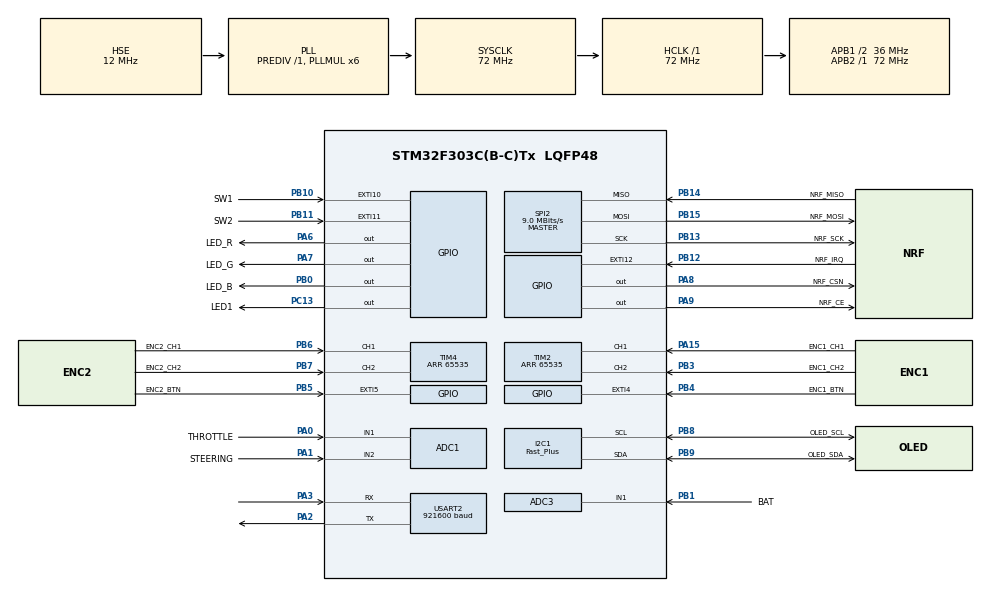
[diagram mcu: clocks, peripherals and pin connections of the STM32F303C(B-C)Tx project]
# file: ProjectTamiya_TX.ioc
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NVIC.ADC1_2_IRQn=true\:0\:0\:false\:false\:true\:true\:true
Dma.ADC3.0.Priority=DMA_PRIORITY_HIGH
I2C1.I2C_Speed_Mode=I2C_Fast_Plus
PB10.GPIO_PuPd=GPIO_PULLUP
SPI2.VirtualType=VM_MASTER
NVIC.TIM6_DAC_IRQn=true\:0\:0\:false\:false\:true\:true\:true
PB14.GPIO_Label=NRF_MISO
PA14.GPIO_Label=SWCLK
PA6.GPIO_Label=LED_R
PB6.GPIO_Label=ENC2_CH1
PB13.Signal=SPI2_SCK
Dma.USART2_TX.2.PeriphDataAlignment=DMA_PDATAALIGN_BYTE
RCC.APB2TimFreq_Value=72000000
PB6.Signal=S_TIM4_CH1
Dma.ADC3.0.Direction=DMA_PERIPH_TO_MEMORY
ADC1.Channel-2\#ChannelRegularConversion=ADC_CHANNEL_2
Dma.ADC1.1.PeriphDataAlignment=DMA_PDATAALIGN_HALFWORD
ADC3.SamplingTimeOPAMP-1\#ChannelRegularConversion=ADC_SAMPLETIME_61CYCLES_5
NVIC.EXTI15_10_IRQn=true\:0\:0\:false\:false\:true\:true\:true
Dma.USART2_TX.2.Priority=DMA_PRIORITY_LOW
Dma.ADC3.0.PeriphInc=DMA_PINC_DISABLE
PB12.GPIO_Label=NRF_IRQ
ADC3.Offset-1\#ChannelRegularConversion=0
PB14.Mode=Full_Duplex_Master
PB1.GPIO_Label=BAT
ADC3.ContinuousConvMode=ENABLE
Dma.USART2_TX.2.MemDataAlignment=DMA_MDATAALIGN_BYTE
NVIC.TIM2_IRQn=true\:0\:0\:false\:false\:true\:true\:true
PA0.Mode=IN1-Single-Ended
SPI2.CalculateBaudRate=9.0 MBits/s
SH.S_TIM4_CH2.0=TIM4_CH2,Encoder_Interface
PA8.Signal=GPIO_Output
TIM4.Period=65535
PA0.Signal=ADC1_IN1
Mcu.Package=LQFP48
PB9.Signal=I2C1_SDA
PB1.Signal=ADC3_IN1
SPI2.Mode=SPI_MODE_MASTER
ADC3.Rank-0\#ChannelRegularConversion=1
SH.S_TIM4_CH1.0=TIM4_CH1,Encoder_Interface
RCC.APB1TimFreq_Value=72000000
Dma.ADC3.0.Instance=DMA2_Channel5
PB13.Mode=Full_Duplex_Master
TIM16.Prescaler=7199
PF1-OSC_OUT.Signal=RCC_OSC_OUT
ADC3.EnableAnalogWatchDog1=false
PB7.GPIO_PuPd=GPIO_PULLUP
NVIC.EXTI4_IRQn=true\:0\:0\:false\:false\:true\:true\:true
ADC3.OffsetNumber-1\#ChannelRegularConversion=ADC_OFFSET_NONE
Dma.USART2_TX.2.MemInc=DMA_MINC_ENABLE
TIM2.IC1Filter=10
PC13.Signal=GPIO_Output
PA9.GPIO_Label=NRF_CE
PB6.GPIO_PuPd=GPIO_PULLUP
PB11.GPIO_Label=SW2
VP_TIM16_VS_ClockSourceINT.Mode=Enable_Timer
TIM4.IC2Filter=10
RCC.APB1CLKDivider=RCC_HCLK_DIV2
USART2.BaudRate=921600
PA3.Mode=Asynchronous
PB8.GPIO_Label=OLED_SCL
PA8.GPIO_Label=NRF_CSN
PA9.Signal=GPIO_Output
I2C1.Timing=0x00000001
PB4.GPIO_PuPd=GPIO_PULLUP
ADC1.Offset-2\#ChannelRegularConversion=0
ADC3.NbrOfConversion=2
PB10.Signal=GPXTI10
PB14.Signal=SPI2_MISO
PA1.Mode=IN2-Single-Ended
PB4.GPIO_Label=ENC1_BTN
RCC.PRESCALERUSB=RCC_USBCLKSOURCE_PLL_DIV1_5
PB15.GPIO_Label=NRF_MOSI
PA1.GPIO_Label=STEERING
ADC1.DMAContinuousRequests=ENABLE
TIM2.Period=65535
PA13.Mode=Serial_Wire
PB10.GPIO_ModeDefaultEXTI=GPIO_MODE_IT_RISING_FALLING
Dma.ADC3.0.PeriphDataAlignment=DMA_PDATAALIGN_HALFWORD
ADC3.Channel-1\#ChannelRegularConversion=ADC_CHANNEL_1
ADC3.Rank-1\#ChannelRegularConversion=2
ADC1.SamplingTime-1\#ChannelRegularConversion=ADC_SAMPLETIME_601CYCLES_5
PB5.Signal=GPXTI5
ADC1.master=1
Dma.USART2_TX.2.Instance=DMA1_Channel7
PB5.GPIO_PuPd=GPIO_PULLUP
ADC1.Rank-1\#ChannelRegularConversion=1
SH.S_TIM2_CH1_ETR.0=TIM2_CH1,Encoder_Interface
ProjectManager.HeapSize=0x200
PB1.Mode=IN1-Single-Ended
Dma.ADC3.0.Mode=DMA_NORMAL
ADC3.Offset-0\#ChannelRegularConversion=0
NVIC.PriorityGroup=NVIC_PRIORITYGROUP_2
PB8.Mode=I2C
SPI2.DataSize=SPI_DATASIZE_8BIT
NVIC.DMA1_Channel1_IRQn=true\:0\:0\:false\:false\:true\:false\:true
PF0-OSC_IN.Signal=RCC_OSC_IN
PB0.Signal=GPIO_Output
TIM2.IC2Filter=10
Mcu.Family=STM32F3
RCC.CortexFreq_Value=72000000
Dma.ADC1.1.MemDataAlignment=DMA_MDATAALIGN_HALFWORD
ADC1.ContinuousConvMode=ENABLE
TIM4.EncoderMode=TIM_ENCODERMODE_TI12
RCC.SYSCLKSourceVirtual=RCC_SYSCLKSOURCE_PLLCLK
PA0.GPIO_Label=THROTTLE
PB0.GPIO_Label=LED_B
TIM2.EncoderMode=TIM_ENCODERMODE_TI12
PB11.GPIO_PuPd=GPIO_PULLUP
PC13.GPIO_Label=LED1
PB13.GPIO_Label=NRF_SCK
PB11.Signal=GPXTI11
PB15.Signal=SPI2_MOSI
ADC3.Channel-0\#ChannelRegularConversion=ADC_CHANNEL_VREFINT
ProjectManager.StackSize=0x400
PA15.GPIO_Label=ENC1_CH1
Dma.ADC1.1.Instance=DMA1_Channel1
RCC.HCLKFreq_Value=72000000
VP_ADC3_Vref_Input.Mode=IN-Vrefint
ADC1.Offset-1\#ChannelRegularConversion=0
Dma.ADC3.0.MemDataAlignment=DMA_MDATAALIGN_HALFWORD
RCC.AHBFreq_Value=72000000
SPI2.BaudRatePrescaler=SPI_BAUDRATEPRESCALER_4
ADC3.SamplingTime-1\#ChannelRegularConversion=ADC_SAMPLETIME_601CYCLES_5
NVIC.DMA2_Channel5_IRQn=true\:0\:0\:false\:false\:true\:false\:true
RCC.HSE_VALUE=12000000
USART2.VirtualMode-Asynchronous=VM_ASYNC
RCC.PLLMUL=RCC_PLL_MUL6
PB3.GPIO_PuPd=GPIO_PULLUP
ADC1.Rank-2\#ChannelRegularConversion=2
PA14.Mode=Serial_Wire
Dma.ADC1.1.Priority=DMA_PRIORITY_MEDIUM
Dma.ADC3.0.MemInc=DMA_MINC_ENABLE
PB7.Signal=S_TIM4_CH2
Dma.ADC1.1.Mode=DMA_CIRCULAR
TIM6.Period=9999
PB7.GPIO_Label=ENC2_CH2
ADC3.master=1
PA6.Signal=GPIO_Output
Dma.ADC1.1.Direction=DMA_PERIPH_TO_MEMORY
RCC.EnbaleCSS=true
Dma.ADC1.1.MemInc=DMA_MINC_ENABLE
PA15.Signal=S_TIM2_CH1_ETR
ADC1.OffsetNumber-1\#ChannelRegularConversion=ADC_OFFSET_NONE
ADC3.OffsetNumber-0\#ChannelRegularConversion=ADC_OFFSET_NONE
TIM4.IC1Filter=10
PB5.GPIO_Label=ENC2_BTN
Dma.Request2=USART2_TX
Dma.Request1=ADC1
SPI2.Direction=SPI_DIRECTION_2LINES
PF1-OSC_OUT.Mode=HSE-External-Oscillator
Dma.Request0=ADC3
PC13.PinState=GPIO_PIN_SET
PB4.Signal=GPXTI4
PA3.Signal=USART2_RX
PB3.GPIO_Label=ENC1_CH2
RCC.PLLSourceVirtual=RCC_PLLSOURCE_HSE
Dma.USART2_TX.2.PeriphInc=DMA_PINC_DISABLE
PB9.GPIO_Label=OLED_SDA
TIM6.Prescaler=7199
VP_TIM6_VS_ClockSourceINT.Mode=Enable_Timer
ADC1.SamplingTime-2\#ChannelRegularConversion=ADC_SAMPLETIME_601CYCLES_5
PA13.Signal=SYS_JTMS-SWDIO
SH.S_TIM2_CH2.0=TIM2_CH2,Encoder_Interface
ADC3.SamplingTime-0\#ChannelRegularConversion=ADC_SAMPLETIME_181CYCLES_5
ProjectManager.TargetToolchain=Makefile
PB10.GPIO_Label=SW1
PB9.Mode=I2C
ADC1.Channel-1\#ChannelRegularConversion=ADC_CHANNEL_1
RCC.USBFreq_Value=48000000
RCC.LSE_VALUE=32768
PA1.Signal=ADC1_IN2
PF0-OSC_IN.Mode=HSE-External-Oscillator
board=custom
PB15.Mode=Full_Duplex_Master
TIM16.Period=2499
RCC.APB2Freq_Value=72000000
Dma.ADC1.1.PeriphInc=DMA_PINC_DISABLE
ADC1.NbrOfConversion=2
ADC1.OffsetNumber-2\#ChannelRegularConversion=ADC_OFFSET_NONE
Mcu.Name=STM32F303C(B-C)Tx
PA13.GPIO_Label=SWDIO
PA2.Signal=USART2_TX
Dma.USART2_TX.2.Mode=DMA_NORMAL
PB3.Signal=S_TIM2_CH2
RCC.SYSCLKFreq_VALUE=72000000
PA7.GPIO_Label=LED_G
NVIC.EXTI9_5_IRQn=true\:0\:0\:false\:false\:true\:true\:true
PA14.Signal=SYS_JTCK-SWCLK
PB12.GPIO_ModeDefaultEXTI=GPIO_MODE_IT_FALLING
RCC.HSI_VALUE=8000000
Dma.USART2_TX.2.Direction=DMA_MEMORY_TO_PERIPH
NVIC.TIM1_UP_TIM16_IRQn=true\:0\:0\:false\:false\:true\:true\:true
ADC1.NbrOfConversionFlag=1
PA15.GPIO_PuPd=GPIO_PULLUP
PA2.Mode=Asynchronous
PB8.Signal=I2C1_SCL
NVIC.DMA1_Channel7_IRQn=true\:0\:0\:false\:false\:true\:false\:true
NVIC.TIM4_IRQn=true\:0\:0\:false\:false\:true\:true\:true
RCC.APB1Freq_Value=36000000
ADC3.NbrOfConversionFlag=1
PB12.Signal=GPXTI12
PA7.Signal=GPIO_Output

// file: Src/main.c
/* USER CODE BEGIN Header */
/**
  ******************************************************************************
  * @file           : main.c
  * @brief          : ProjectTamiya - Control program for transmitter
  *                   Working:
  *                     - triggers with ADC "double buffer"
  *                       - split buffer in half, let the half fill, then process
  *                         it while the other half is being filled
  *                     - communication
  *                     - LEDs
  *                       - green:  communication OK, batt voltage >=6.8V
  *                       - red:    communication OK, batt voltage <6.8V
  *                       - blue:   no signal
  *                     - communication statistics (messages/sec)
  *                     - UART debug prints controled by Switch1
  *                     - control trimmers (rottary encoders)
  *                     - OLED status display with various info
  *                       - car batt voltage and bldc temperature
  *                       - tx batt voltage, msgs/sec, trigger and trimmer values
  *                       - signal loss
  *
  * @author         : Kristian Slehofer
  * @date           : 2. 5. 2022
  ******************************************************************************
  * @attention
  *
  * <h2><center>&copy; Copyright (c) 2022 STMicroelectronics.
  * All rights reserved.</center></h2>
  *
  * This software component is licensed by ST under BSD 3-Clause license,
  * the "License"; You may not use this file except in compliance with the
  * License. You may obtain a copy of the License at:
  *                        opensource.org/licenses/BSD-3-Clause
  *
  ******************************************************************************
  */
/* USER CODE END Header */
#include "main.h"

/* USER CODE BEGIN Includes */
#include <stdio.h>
#include <stdbool.h>
#include <string.h>
#include <stdarg.h>

#include "project_tamiya.h"
/* USER CODE END Includes */

/* USER CODE BEGIN PD */
#define ADC_BUFF_SIZE 512

#define STEER0            2005                                                  // trigger default position ADC values
#define THRTL0            1924

#define RES_22K           21830.0                                               // real resistor values
#define RES_10K           9770.0
#define BAT_DIVIDER       (RES_22K + RES_10K) / RES_10K                         // constant to compute battery voltage

#define VREFINT_CAL_ADDR  0x1FFFF7BA                                            // internal reference voltage calibration values address
/* USER CODE END PD */

ADC_HandleTypeDef hadc1;
ADC_HandleTypeDef hadc3;
DMA_HandleTypeDef hdma_adc1;
DMA_HandleTypeDef hdma_adc3;

I2C_HandleTypeDef hi2c1;

SPI_HandleTypeDef hspi2;

TIM_HandleTypeDef htim2;
TIM_HandleTypeDef htim4;
TIM_HandleTypeDef htim6;
TIM_HandleTypeDef htim16;

UART_HandleTypeDef huart2;
DMA_HandleTypeDef hdma_usart2_tx;

/* USER CODE BEGIN PV */

bool no_signal = false, show_batoff = false;                                    // flags
bool NRF_IRQ = false, ENC1_IRQ = false, ENC1_reset = false, ENC2_IRQ = false, ENC2_reset = false;
bool display_refresh = false, trigger_data_rdy = false, adc_data_bat_rdy = false;

bool UART_debug = true;                                                         // flags controlled by dip switches

uint16_t STATUS_LED = LED_G_Pin;

uint16_t adc_data_bat[2*ADC_BUFF_SIZE];                                         // ADC data buffer
uint16_t buff_offset = 0;                                                       // ADC buffer offset

uint32_t voltage = 7500, vrefint;
uint16_t tx_freq = 0, tx_freq_cnt = 0;                                          // command frequency per sec
uint32_t retransmits_in_row = 0;
/* USER CODE END PV */

void SystemClock_Config(void);
static void MX_GPIO_Init(void);
static void MX_DMA_Init(void);
static void MX_ADC1_Init(void);
static void MX_I2C1_Init(void);
static void MX_SPI2_Init(void);
static void MX_TIM2_Init(void);
static void MX_ADC3_Init(void);
static void MX_TIM4_Init(void);
static void MX_TIM16_Init(void);
static void MX_USART2_UART_Init(void);
static void MX_TIM6_Init(void);
/* USER CODE BEGIN PFP */
void HAL_GPIO_EXTI_Callback(uint16_t GPIO_Pin);
void HAL_TIM_PeriodElapsedCallback(TIM_HandleTypeDef *htim);
void HAL_TIM_IC_CaptureCallback(TIM_HandleTypeDef *htim);
void HAL_ADC_ConvHalfCpltCallback(ADC_HandleTypeDef* hadc);
void HAL_ADC_ConvCpltCallback(ADC_HandleTypeDef* hadc);

void BlinkLeds(void);
void PrintError(const char *s, ...);
/* USER CODE END PFP */

int main(void)
{

  /* MCU Configuration--------------------------------------------------------*/

  /* Reset of all peripherals, Initializes the Flash interface and the Systick. */
  HAL_Init();

  /* Configure the system clock */
  SystemClock_Config();

  /* Initialize all configured peripherals */
  MX_GPIO_Init();
  MX_DMA_Init();
  MX_ADC1_Init();
  MX_I2C1_Init();
  MX_SPI2_Init();
  MX_TIM2_Init();
  MX_ADC3_Init();
  MX_TIM4_Init();
  MX_TIM16_Init();
  MX_USART2_UART_Init();
  MX_TIM6_Init();
  /* USER CODE BEGIN 2 */

  HAL_GPIO_WritePin(LED1_GPIO_Port, LED1_Pin, GPIO_PIN_SET);                    // turn on LED

  ssd1306_Init();                                                               // init display
  ssd1306_DrawXBitmap(0, 0, tamiya_big_bits, tamiya_big_width, tamiya_big_height, White);
  ssd1306_UpdateScreen();

  HAL_UART_Transmit(&UART, (uint8_t*)GREETING, strlength(GREETING), UART_TIMEOUT);  // send greeting

  BlinkLeds();                                                                  // blink RGB led

  if(HAL_ADCEx_Calibration_Start(&hadc1, ADC_SINGLE_ENDED) !=  HAL_OK) {        // ADC calibration
    PrintError("ADC1 calib failed!");
    Error_Handler();
  }
  if(HAL_ADCEx_Calibration_Start(&hadc3, ADC_SINGLE_ENDED) !=  HAL_OK) {
    PrintError("ADC2 calib failed!");
    Error_Handler();
  }
  UART_SendStr("Both ADCs succesfully calibrated!\n");

  uint16_t vrefint_cal = *((uint16_t*)VREFINT_CAL_ADDR);                        // get internal ref voltage calibration value

  if(!nRF24_InitModule()) {                                                     // init communication module
    PrintError("nRF24 init error!");
    Error_Handler();
  };

  /* USER CODE END 2 */

  /* Infinite loop */
  /* USER CODE BEGIN WHILE */

  uint8_t recv_len = 0;

  uint8_t buffer[PT_nRF24_PACKET_SIZE], ack[PT_nRF24_ACK_SIZE];                 // nRF24 data and ack buffer

  uint16_t triggers[2*ADC_BUFF_SIZE] = {0};                                     // ADC buffer and trimmers
  uint16_t last_enc1 = 0, last_enc2 = 0;
  int16_t steer_trim = 0, thrtl_trim = 0;

  int16_t throttle = 0, steer = 0;                                              // control values

  uint16_t car_voltage = 0;                                                     // car data
  uint8_t car_temp = 0, car_temp_frac = 0;

  bool sending = false;                                                         // flag for interrupt-driven packet transmission

  HAL_ADC_Start_DMA(&hadc1, (uint32_t*)triggers, 2*ADC_BUFF_SIZE);              // start ADC to get trigger positions

                                                                                // start timers
  HAL_TIM_Base_Start_IT(&htim16);                                               // OLED display refresh & BAT data (4Hz)
  HAL_TIM_Base_Start_IT(&htim6);                                                // per-sec statistics
  UART_SendStr("Timers started.\n");

                                                                                // init trimmers
  __HAL_TIM_SET_COUNTER(&htim2, 32768);                                         // reset to the middle
  last_enc1 = __HAL_TIM_GET_COUNTER(&htim2);
  __HAL_TIM_SET_COUNTER(&htim4, 32768);
  last_enc2 = __HAL_TIM_GET_COUNTER(&htim4);
  HAL_TIM_Encoder_Start_IT(&htim2, htim2.Channel);
  HAL_TIM_Encoder_Start_IT(&htim4, htim4.Channel);
  UART_SendStr("Rotary encoders initialized.\n");

  UART_SendStr("Entering main control loop...\n");

  if(HAL_GPIO_ReadPin(SW1_GPIO_Port, SW1_Pin) == GPIO_PIN_SET) {                // deinitialize UART debug if switch is OFF
    UART_SendStr("Deinitializing UART...\n");
    HAL_UART_DeInit(&UART);
    UART_debug = false;
  }

  HAL_GPIO_WritePin(LED1_GPIO_Port, LED1_Pin, GPIO_PIN_RESET);                  // turn off the led as the initialization is done

  while (1)
  {
    if(trigger_data_rdy) {                                                      // ADC conversion complete interrupt
      uint32_t throttle_raw = 0, steer_raw = 0;

      for(int i = 0; i < ADC_BUFF_SIZE; i += 2) {                               // average values
        throttle_raw += (uint16_t)triggers[i + 0 + buff_offset];
        steer_raw += (uint16_t)triggers[i + 1 + buff_offset];
      }
      throttle_raw /= ADC_BUFF_SIZE / 2;
      steer_raw /= ADC_BUFF_SIZE / 2;

      throttle = throttle_raw - THRTL0;                                         // "normalize" values
      steer = steer_raw - STEER0;

      throttle *= (float)PT_MAXTHRTL / (float)PT_TX_THRTL_RANGE;                // map values to max control range
      steer *= (float)PT_MAXSTEER / (float)PT_TX_STEER_RANGE;

      trigger_data_rdy = false;                                                 // reset flag
    }

    if(adc_data_bat_rdy) {
      voltage = vrefint = 0;                                                    // reset
      for(int i = 0; i < 2*ADC_BUFF_SIZE; i += 2) {                             // average values
        vrefint += (uint16_t)adc_data_bat[i + 0];
        voltage += (uint16_t)adc_data_bat[i + 1];
      }
      vrefint /= ADC_BUFF_SIZE;
      voltage /= ADC_BUFF_SIZE;

      uint16_t vdda = 3300 * vrefint_cal / vrefint;                             // calculate VDDA

      voltage = voltage * vdda / 4095;                                          // calculate the actual battery voltage
      voltage *= BAT_DIVIDER;

      if(UART_debug) {
        UART_SendStr("BAT: ");
        UART_SendInt(voltage);
        UART_SendStr("mV; SUPPLY: ");
        UART_SendInt(vdda);
        UART_SendStr("mV\n");
      }

      adc_data_bat_rdy = false;                                                 // reset flags
    }

    if(!sending) {                                                              // Send packet, phase 1 - interrupt driven sending
      sending = true;
      int16_t throttle_data, steer_data;

      throttle_data = throttle + thrtl_trim;                                    // prepare packet
      steer_data = steer + steer_trim;
      memmove(&buffer, &throttle_data, sizeof(int16_t));
      memmove(&buffer[2], &steer_data, sizeof(int16_t));

      nRF24_TransmitPacket(buffer, sizeof(buffer));
    }

    if(NRF_IRQ) {                                                               // Send packet, phase 2 - interrupt driven sending
      nRF24_TXResult tx_res;
      tx_res = nRF24_FinishTransmission();
      nRF24_ReadPayloadDpl(ack, &recv_len);

      if(recv_len == PT_nRF24_ACK_SIZE) {
        uint8_t temp_byte = 0;
        memmove(&car_voltage, &ack[0], sizeof(uint16_t));                       // parse ACK packet
        memmove(&temp_byte, &ack[2], sizeof(uint8_t));
        car_temp = (temp_byte & 0x7F);
        car_temp_frac = (temp_byte >> 7) & 0x1 ? 5 : 0;
      } else {
        car_voltage = 0, car_temp = 0, car_temp_frac = 0;
      }

      // nRF24_GetCounters(&plos, &arc);
      switch(tx_res) {
        case nRF24_TX_SUCCESS:
          HAL_GPIO_TogglePin(GPIOA, STATUS_LED);                                // toggle led

          retransmits_in_row = 0;                                               // reset
          tx_freq_cnt++;                                                        // increment messages/sec counter
          break;
        case nRF24_TX_TIMEOUT:
          // UART_SendStr("TIMEOUT");
          break;
        case nRF24_TX_MAXRT:
          // UART_SendStr("MAX RETRANSMIT");
          retransmits_in_row++;
          nRF24_ResetPLOS();
          break;
        default:
          // UART_SendStr("ERROR");
          break;
      }

      sending = NRF_IRQ = false;                                                // reset flags
    }

    if(display_refresh) {                                                       // OLED display refresh interrupt
      ssd1306_Fill(Black);
      ssd1306_DrawXBitmap(0, 3, car_logo_bits, car_logo_width, car_logo_height, White);
      if(no_signal) {                                                           // if no signal detected, print it on display
        ssd1306_SetCursor(35, 2);
        ssd1306_WriteString("NO SIGNAL!", Font_7x10, White);
      } else {                                                                  // else print car status
        OLED_TempInfo(27, 0, car_temp, car_temp_frac, White, Font_6x8);
        OLED_BatInfo(96, 0, car_voltage, White, Font_6x8, show_batoff);
      }
      OLED_BatInfo(96, 50, voltage, White, Font_6x8, show_batoff);
      ssd1306_DrawHLine(13, White);

      OLED_SignalInfo(0, 50, tx_freq, White, Font_6x8);                         // display commands per sec

      char ascii_buffer[8];
      ssd1306_SetCursor(6, 22);                                                 // display trigger values
      ssd1306_WriteString("STEER: ", Font_7x10, White);
      snprintf(ascii_buffer, 8, "%d", steer);
      ssd1306_WriteString(ascii_buffer, Font_7x10, White);

      ssd1306_SetCursor(6, 36);
      ssd1306_WriteString("THRTL: ", Font_7x10, White);
      snprintf(ascii_buffer, 8, "%d", throttle);
      ssd1306_WriteString(ascii_buffer, Font_7x10, White);

      if(steer_trim >= 0) {                                                     // display trimmer values
        snprintf(ascii_buffer, 8, "+%i", steer_trim);
      } else {
        snprintf(ascii_buffer, 8, "%i", steer_trim);
      }
      ssd1306_SetCursor(100, 22);
      ssd1306_WriteString(ascii_buffer, Font_7x10, White);

      if(thrtl_trim >= 0) {
        snprintf(ascii_buffer, 8, "+%i", thrtl_trim);
      } else {
        snprintf(ascii_buffer, 8, "%i", thrtl_trim);
      }
      ssd1306_SetCursor(100, 36);
      ssd1306_WriteString(ascii_buffer, Font_7x10, White);

      ssd1306_UpdateScreen();                                                   // print values

      display_refresh = false;                                                  // reset flag
    }

    if(ENC1_IRQ) {                                                              // Steering trim control
      if(__HAL_TIM_GET_COUNTER(&htim2) > last_enc1) {
        UART_SendStr("ENC1 - UP\n");
        steer_trim += 1;
      } else {
        UART_SendStr("ENC1 - DOWN\n");
        steer_trim -= 1;
      }
      last_enc1 = __HAL_TIM_GET_COUNTER(&htim2);
      ENC1_IRQ = false;                                                         // reset flag
    }

    if(ENC1_reset) {
      steer_trim = 0;
      ENC1_reset = false;
    }

    if(ENC2_IRQ) {                                                              // Throttle trim control
      if(__HAL_TIM_GET_COUNTER(&htim4) < last_enc2) {                           // "<" to maintain same direction
        UART_SendStr("ENC2 - UP\n");
        thrtl_trim += 1;
      } else {
        UART_SendStr("ENC2 - DOWN\n");
        thrtl_trim -= 1;
      }
      last_enc2 = __HAL_TIM_GET_COUNTER(&htim4);
      ENC2_IRQ = false;                                                         // reset flag
    }

    if(ENC2_reset) {
      thrtl_trim = 0;
      ENC2_reset = false;
    }

    /* USER CODE END WHILE */

  }
}

void SystemClock_Config(void)
{
  RCC_OscInitTypeDef RCC_OscInitStruct = {0};
  RCC_ClkInitTypeDef RCC_ClkInitStruct = {0};
  RCC_PeriphCLKInitTypeDef PeriphClkInit = {0};

  /** Initializes the RCC Oscillators according to the specified parameters
  * in the RCC_OscInitTypeDef structure.
  */
  RCC_OscInitStruct.OscillatorType = RCC_OSCILLATORTYPE_HSI|RCC_OSCILLATORTYPE_HSE;
  RCC_OscInitStruct.HSEState = RCC_HSE_ON;
  RCC_OscInitStruct.HSEPredivValue = RCC_HSE_PREDIV_DIV1;
  RCC_OscInitStruct.HSIState = RCC_HSI_ON;
  RCC_OscInitStruct.HSICalibrationValue = RCC_HSICALIBRATION_DEFAULT;
  RCC_OscInitStruct.PLL.PLLState = RCC_PLL_ON;
  RCC_OscInitStruct.PLL.PLLSource = RCC_PLLSOURCE_HSE;
  RCC_OscInitStruct.PLL.PLLMUL = RCC_PLL_MUL6;
  if (HAL_RCC_OscConfig(&RCC_OscInitStruct) != HAL_OK)
  {
    Error_Handler();
  }
  /** Initializes the CPU, AHB and APB buses clocks
  */
  RCC_ClkInitStruct.ClockType = RCC_CLOCKTYPE_HCLK|RCC_CLOCKTYPE_SYSCLK
                              |RCC_CLOCKTYPE_PCLK1|RCC_CLOCKTYPE_PCLK2;
  RCC_ClkInitStruct.SYSCLKSource = RCC_SYSCLKSOURCE_PLLCLK;
  RCC_ClkInitStruct.AHBCLKDivider = RCC_SYSCLK_DIV1;
  RCC_ClkInitStruct.APB1CLKDivider = RCC_HCLK_DIV2;
  RCC_ClkInitStruct.APB2CLKDivider = RCC_HCLK_DIV1;

  if (HAL_RCC_ClockConfig(&RCC_ClkInitStruct, FLASH_LATENCY_2) != HAL_OK)
  {
    Error_Handler();
  }
  PeriphClkInit.PeriphClockSelection = RCC_PERIPHCLK_USART2|RCC_PERIPHCLK_I2C1
                              |RCC_PERIPHCLK_ADC12|RCC_PERIPHCLK_ADC34;
  PeriphClkInit.Usart2ClockSelection = RCC_USART2CLKSOURCE_PCLK1;
  PeriphClkInit.Adc12ClockSelection = RCC_ADC12PLLCLK_DIV1;
  PeriphClkInit.Adc34ClockSelection = RCC_ADC34PLLCLK_DIV1;
  PeriphClkInit.I2c1ClockSelection = RCC_I2C1CLKSOURCE_HSI;
  if (HAL_RCCEx_PeriphCLKConfig(&PeriphClkInit) != HAL_OK)
  {
    Error_Handler();
  }
  /** Enables the Clock Security System
  */
  HAL_RCC_EnableCSS();
}

static void MX_ADC1_Init(void)
{

  ADC_MultiModeTypeDef multimode = {0};
  ADC_ChannelConfTypeDef sConfig = {0};

  /** Common config
  */
  hadc1.Instance = ADC1;
  hadc1.Init.ClockPrescaler = ADC_CLOCK_ASYNC_DIV1;
  hadc1.Init.Resolution = ADC_RESOLUTION_12B;
  hadc1.Init.ScanConvMode = ADC_SCAN_ENABLE;
  hadc1.Init.ContinuousConvMode = ENABLE;
  hadc1.Init.DiscontinuousConvMode = DISABLE;
  hadc1.Init.ExternalTrigConvEdge = ADC_EXTERNALTRIGCONVEDGE_NONE;
  hadc1.Init.ExternalTrigConv = ADC_SOFTWARE_START;
  hadc1.Init.DataAlign = ADC_DATAALIGN_RIGHT;
  hadc1.Init.NbrOfConversion = 2;
  hadc1.Init.DMAContinuousRequests = ENABLE;
  hadc1.Init.EOCSelection = ADC_EOC_SINGLE_CONV;
  hadc1.Init.LowPowerAutoWait = DISABLE;
  hadc1.Init.Overrun = ADC_OVR_DATA_OVERWRITTEN;
  if (HAL_ADC_Init(&hadc1) != HAL_OK)
  {
    Error_Handler();
  }
  /** Configure the ADC multi-mode
  */
  multimode.Mode = ADC_MODE_INDEPENDENT;
  if (HAL_ADCEx_MultiModeConfigChannel(&hadc1, &multimode) != HAL_OK)
  {
    Error_Handler();
  }
  /** Configure Regular Channel
  */
  sConfig.Channel = ADC_CHANNEL_1;
  sConfig.Rank = ADC_REGULAR_RANK_1;
  sConfig.SingleDiff = ADC_SINGLE_ENDED;
  sConfig.SamplingTime = ADC_SAMPLETIME_601CYCLES_5;
  sConfig.OffsetNumber = ADC_OFFSET_NONE;
  sConfig.Offset = 0;
  if (HAL_ADC_ConfigChannel(&hadc1, &sConfig) != HAL_OK)
  {
    Error_Handler();
  }
  /** Configure Regular Channel
  */
  sConfig.Channel = ADC_CHANNEL_2;
  sConfig.Rank = ADC_REGULAR_RANK_2;
  if (HAL_ADC_ConfigChannel(&hadc1, &sConfig) != HAL_OK)
  {
    Error_Handler();
  }

}

static void MX_ADC3_Init(void)
{

  ADC_MultiModeTypeDef multimode = {0};
  ADC_ChannelConfTypeDef sConfig = {0};

  /** Common config
  */
  hadc3.Instance = ADC3;
  hadc3.Init.ClockPrescaler = ADC_CLOCK_ASYNC_DIV1;
  hadc3.Init.Resolution = ADC_RESOLUTION_12B;
  hadc3.Init.ScanConvMode = ADC_SCAN_ENABLE;
  hadc3.Init.ContinuousConvMode = ENABLE;
  hadc3.Init.DiscontinuousConvMode = DISABLE;
  hadc3.Init.ExternalTrigConvEdge = ADC_EXTERNALTRIGCONVEDGE_NONE;
  hadc3.Init.ExternalTrigConv = ADC_SOFTWARE_START;
  hadc3.Init.DataAlign = ADC_DATAALIGN_RIGHT;
  hadc3.Init.NbrOfConversion = 2;
  hadc3.Init.DMAContinuousRequests = DISABLE;
  hadc3.Init.EOCSelection = ADC_EOC_SINGLE_CONV;
  hadc3.Init.LowPowerAutoWait = DISABLE;
  hadc3.Init.Overrun = ADC_OVR_DATA_OVERWRITTEN;
  if (HAL_ADC_Init(&hadc3) != HAL_OK)
  {
    Error_Handler();
  }
  /** Configure the ADC multi-mode
  */
  multimode.Mode = ADC_MODE_INDEPENDENT;
  if (HAL_ADCEx_MultiModeConfigChannel(&hadc3, &multimode) != HAL_OK)
  {
    Error_Handler();
  }
  /** Configure Regular Channel
  */
  sConfig.Channel = ADC_CHANNEL_VREFINT;
  sConfig.Rank = ADC_REGULAR_RANK_1;
  sConfig.SingleDiff = ADC_SINGLE_ENDED;
  sConfig.SamplingTime = ADC_SAMPLETIME_181CYCLES_5;
  sConfig.OffsetNumber = ADC_OFFSET_NONE;
  sConfig.Offset = 0;
  if (HAL_ADC_ConfigChannel(&hadc3, &sConfig) != HAL_OK)
  {
    Error_Handler();
  }
  /** Configure Regular Channel
  */
  sConfig.Channel = ADC_CHANNEL_1;
  sConfig.Rank = ADC_REGULAR_RANK_2;
  sConfig.SamplingTime = ADC_SAMPLETIME_601CYCLES_5;
  if (HAL_ADC_ConfigChannel(&hadc3, &sConfig) != HAL_OK)
  {
    Error_Handler();
  }

}

static void MX_I2C1_Init(void)
{

  hi2c1.Instance = I2C1;
  hi2c1.Init.Timing = 0x00000001;
  hi2c1.Init.OwnAddress1 = 0;
  hi2c1.Init.AddressingMode = I2C_ADDRESSINGMODE_7BIT;
  hi2c1.Init.DualAddressMode = I2C_DUALADDRESS_DISABLE;
  hi2c1.Init.OwnAddress2 = 0;
  hi2c1.Init.OwnAddress2Masks = I2C_OA2_NOMASK;
  hi2c1.Init.GeneralCallMode = I2C_GENERALCALL_DISABLE;
  hi2c1.Init.NoStretchMode = I2C_NOSTRETCH_DISABLE;
  if (HAL_I2C_Init(&hi2c1) != HAL_OK)
  {
    Error_Handler();
  }
  /** Configure Analogue filter
  */
  if (HAL_I2CEx_ConfigAnalogFilter(&hi2c1, I2C_ANALOGFILTER_ENABLE) != HAL_OK)
  {
    Error_Handler();
  }
  /** Configure Digital filter
  */
  if (HAL_I2CEx_ConfigDigitalFilter(&hi2c1, 0) != HAL_OK)
  {
    Error_Handler();
  }
  /** I2C Fast mode Plus enable
  */
  __HAL_SYSCFG_FASTMODEPLUS_ENABLE(I2C_FASTMODEPLUS_I2C1);

}

static void MX_SPI2_Init(void)
{

  /* SPI2 parameter configuration*/
  hspi2.Instance = SPI2;
  hspi2.Init.Mode = SPI_MODE_MASTER;
  hspi2.Init.Direction = SPI_DIRECTION_2LINES;
  hspi2.Init.DataSize = SPI_DATASIZE_8BIT;
  hspi2.Init.CLKPolarity = SPI_POLARITY_LOW;
  hspi2.Init.CLKPhase = SPI_PHASE_1EDGE;
  hspi2.Init.NSS = SPI_NSS_SOFT;
  hspi2.Init.BaudRatePrescaler = SPI_BAUDRATEPRESCALER_4;
  hspi2.Init.FirstBit = SPI_FIRSTBIT_MSB;
  hspi2.Init.TIMode = SPI_TIMODE_DISABLE;
  hspi2.Init.CRCCalculation = SPI_CRCCALCULATION_DISABLE;
  hspi2.Init.CRCPolynomial = 7;
  hspi2.Init.CRCLength = SPI_CRC_LENGTH_DATASIZE;
  hspi2.Init.NSSPMode = SPI_NSS_PULSE_ENABLE;
  if (HAL_SPI_Init(&hspi2) != HAL_OK)
  {
    Error_Handler();
  }

}

static void MX_TIM2_Init(void)
{

  TIM_Encoder_InitTypeDef sConfig = {0};
  TIM_MasterConfigTypeDef sMasterConfig = {0};

  htim2.Instance = TIM2;
  htim2.Init.Prescaler = 0;
  htim2.Init.CounterMode = TIM_COUNTERMODE_UP;
  htim2.Init.Period = 65535;
  htim2.Init.ClockDivision = TIM_CLOCKDIVISION_DIV1;
  htim2.Init.AutoReloadPreload = TIM_AUTORELOAD_PRELOAD_DISABLE;
  sConfig.EncoderMode = TIM_ENCODERMODE_TI12;
  sConfig.IC1Polarity = TIM_ICPOLARITY_RISING;
  sConfig.IC1Selection = TIM_ICSELECTION_DIRECTTI;
  sConfig.IC1Prescaler = TIM_ICPSC_DIV1;
  sConfig.IC1Filter = 10;
  sConfig.IC2Polarity = TIM_ICPOLARITY_RISING;
  sConfig.IC2Selection = TIM_ICSELECTION_DIRECTTI;
  sConfig.IC2Prescaler = TIM_ICPSC_DIV1;
  sConfig.IC2Filter = 10;
  if (HAL_TIM_Encoder_Init(&htim2, &sConfig) != HAL_OK)
  {
    Error_Handler();
  }
  sMasterConfig.MasterOutputTrigger = TIM_TRGO_RESET;
  sMasterConfig.MasterSlaveMode = TIM_MASTERSLAVEMODE_DISABLE;
  if (HAL_TIMEx_MasterConfigSynchronization(&htim2, &sMasterConfig) != HAL_OK)
  {
    Error_Handler();
  }

}

static void MX_TIM4_Init(void)
{

  TIM_Encoder_InitTypeDef sConfig = {0};
  TIM_MasterConfigTypeDef sMasterConfig = {0};

  htim4.Instance = TIM4;
  htim4.Init.Prescaler = 0;
  htim4.Init.CounterMode = TIM_COUNTERMODE_UP;
  htim4.Init.Period = 65535;
  htim4.Init.ClockDivision = TIM_CLOCKDIVISION_DIV1;
  htim4.Init.AutoReloadPreload = TIM_AUTORELOAD_PRELOAD_DISABLE;
  sConfig.EncoderMode = TIM_ENCODERMODE_TI12;
  sConfig.IC1Polarity = TIM_ICPOLARITY_RISING;
  sConfig.IC1Selection = TIM_ICSELECTION_DIRECTTI;
  sConfig.IC1Prescaler = TIM_ICPSC_DIV1;
  sConfig.IC1Filter = 10;
  sConfig.IC2Polarity = TIM_ICPOLARITY_RISING;
  sConfig.IC2Selection = TIM_ICSELECTION_DIRECTTI;
  sConfig.IC2Prescaler = TIM_ICPSC_DIV1;
  sConfig.IC2Filter = 10;
  if (HAL_TIM_Encoder_Init(&htim4, &sConfig) != HAL_OK)
  {
    Error_Handler();
  }
  sMasterConfig.MasterOutputTrigger = TIM_TRGO_RESET;
  sMasterConfig.MasterSlaveMode = TIM_MASTERSLAVEMODE_DISABLE;
  if (HAL_TIMEx_MasterConfigSynchronization(&htim4, &sMasterConfig) != HAL_OK)
  {
    Error_Handler();
  }

}

static void MX_TIM6_Init(void)
{

  TIM_MasterConfigTypeDef sMasterConfig = {0};

  htim6.Instance = TIM6;
  htim6.Init.Prescaler = 7199;
  htim6.Init.CounterMode = TIM_COUNTERMODE_UP;
  htim6.Init.Period = 9999;
  htim6.Init.AutoReloadPreload = TIM_AUTORELOAD_PRELOAD_DISABLE;
  if (HAL_TIM_Base_Init(&htim6) != HAL_OK)
  {
    Error_Handler();
  }
  sMasterConfig.MasterOutputTrigger = TIM_TRGO_RESET;
  sMasterConfig.MasterSlaveMode = TIM_MASTERSLAVEMODE_DISABLE;
  if (HAL_TIMEx_MasterConfigSynchronization(&htim6, &sMasterConfig) != HAL_OK)
  {
    Error_Handler();
  }

}

static void MX_TIM16_Init(void)
{

  htim16.Instance = TIM16;
  htim16.Init.Prescaler = 7199;
  htim16.Init.CounterMode = TIM_COUNTERMODE_UP;
  htim16.Init.Period = 2499;
  htim16.Init.ClockDivision = TIM_CLOCKDIVISION_DIV1;
  htim16.Init.RepetitionCounter = 0;
  htim16.Init.AutoReloadPreload = TIM_AUTORELOAD_PRELOAD_DISABLE;
  if (HAL_TIM_Base_Init(&htim16) != HAL_OK)
  {
    Error_Handler();
  }

}

static void MX_USART2_UART_Init(void)
{

  huart2.Instance = USART2;
  huart2.Init.BaudRate = 921600;
  huart2.Init.WordLength = UART_WORDLENGTH_8B;
  huart2.Init.StopBits = UART_STOPBITS_1;
  huart2.Init.Parity = UART_PARITY_NONE;
  huart2.Init.Mode = UART_MODE_TX_RX;
  huart2.Init.HwFlowCtl = UART_HWCONTROL_NONE;
  huart2.Init.OverSampling = UART_OVERSAMPLING_16;
  huart2.Init.OneBitSampling = UART_ONE_BIT_SAMPLE_DISABLE;
  huart2.AdvancedInit.AdvFeatureInit = UART_ADVFEATURE_NO_INIT;
  if (HAL_UART_Init(&huart2) != HAL_OK)
  {
    Error_Handler();
  }

}

static void MX_DMA_Init(void)
{

  /* DMA controller clock enable */
  __HAL_RCC_DMA2_CLK_ENABLE();
  __HAL_RCC_DMA1_CLK_ENABLE();

  /* DMA interrupt init */
  /* DMA1_Channel1_IRQn interrupt configuration */
  HAL_NVIC_SetPriority(DMA1_Channel1_IRQn, 0, 0);
  HAL_NVIC_EnableIRQ(DMA1_Channel1_IRQn);
  /* DMA1_Channel7_IRQn interrupt configuration */
  HAL_NVIC_SetPriority(DMA1_Channel7_IRQn, 0, 0);
  HAL_NVIC_EnableIRQ(DMA1_Channel7_IRQn);
  /* DMA2_Channel5_IRQn interrupt configuration */
  HAL_NVIC_SetPriority(DMA2_Channel5_IRQn, 0, 0);
  HAL_NVIC_EnableIRQ(DMA2_Channel5_IRQn);

}

static void MX_GPIO_Init(void)
{
  GPIO_InitTypeDef GPIO_InitStruct = {0};

  /* GPIO Ports Clock Enable */
  __HAL_RCC_GPIOC_CLK_ENABLE();
  __HAL_RCC_GPIOF_CLK_ENABLE();
  __HAL_RCC_GPIOA_CLK_ENABLE();
  __HAL_RCC_GPIOB_CLK_ENABLE();

  /*Configure GPIO pin Output Level */
  HAL_GPIO_WritePin(LED1_GPIO_Port, LED1_Pin, GPIO_PIN_SET);

  /*Configure GPIO pin Output Level */
  HAL_GPIO_WritePin(GPIOA, LED_R_Pin|LED_G_Pin|NRF_CSN_Pin|NRF_CE_Pin, GPIO_PIN_RESET);

  /*Configure GPIO pin Output Level */
  HAL_GPIO_WritePin(LED_B_GPIO_Port, LED_B_Pin, GPIO_PIN_RESET);

  /*Configure GPIO pin : LED1_Pin */
  GPIO_InitStruct.Pin = LED1_Pin;
  GPIO_InitStruct.Mode = GPIO_MODE_OUTPUT_PP;
  GPIO_InitStruct.Pull = GPIO_NOPULL;
  GPIO_InitStruct.Speed = GPIO_SPEED_FREQ_LOW;
  HAL_GPIO_Init(LED1_GPIO_Port, &GPIO_InitStruct);

  /*Configure GPIO pins : PC14 PC15 */
  GPIO_InitStruct.Pin = GPIO_PIN_14|GPIO_PIN_15;
  GPIO_InitStruct.Mode = GPIO_MODE_ANALOG;
  GPIO_InitStruct.Pull = GPIO_NOPULL;
  HAL_GPIO_Init(GPIOC, &GPIO_InitStruct);

  /*Configure GPIO pins : PA4 PA5 PA10 PA11
                           PA12 */
  GPIO_InitStruct.Pin = GPIO_PIN_4|GPIO_PIN_5|GPIO_PIN_10|GPIO_PIN_11
                          |GPIO_PIN_12;
  GPIO_InitStruct.Mode = GPIO_MODE_ANALOG;
  GPIO_InitStruct.Pull = GPIO_NOPULL;
  HAL_GPIO_Init(GPIOA, &GPIO_InitStruct);

  /*Configure GPIO pins : LED_R_Pin LED_G_Pin NRF_CSN_Pin NRF_CE_Pin */
  GPIO_InitStruct.Pin = LED_R_Pin|LED_G_Pin|NRF_CSN_Pin|NRF_CE_Pin;
  GPIO_InitStruct.Mode = GPIO_MODE_OUTPUT_PP;
  GPIO_InitStruct.Pull = GPIO_NOPULL;
  GPIO_InitStruct.Speed = GPIO_SPEED_FREQ_LOW;
  HAL_GPIO_Init(GPIOA, &GPIO_InitStruct);

  /*Configure GPIO pin : LED_B_Pin */
  GPIO_InitStruct.Pin = LED_B_Pin;
  GPIO_InitStruct.Mode = GPIO_MODE_OUTPUT_PP;
  GPIO_InitStruct.Pull = GPIO_NOPULL;
  GPIO_InitStruct.Speed = GPIO_SPEED_FREQ_LOW;
  HAL_GPIO_Init(LED_B_GPIO_Port, &GPIO_InitStruct);

  /*Configure GPIO pin : PB2 */
  GPIO_InitStruct.Pin = GPIO_PIN_2;
  GPIO_InitStruct.Mode = GPIO_MODE_ANALOG;
  GPIO_InitStruct.Pull = GPIO_NOPULL;
  HAL_GPIO_Init(GPIOB, &GPIO_InitStruct);

  /*Configure GPIO pin : SW1_Pin */
  GPIO_InitStruct.Pin = SW1_Pin;
  GPIO_InitStruct.Mode = GPIO_MODE_IT_RISING_FALLING;
  GPIO_InitStruct.Pull = GPIO_PULLUP;
  HAL_GPIO_Init(SW1_GPIO_Port, &GPIO_InitStruct);

  /*Configure GPIO pins : SW2_Pin ENC1_BTN_Pin ENC2_BTN_Pin */
  GPIO_InitStruct.Pin = SW2_Pin|ENC1_BTN_Pin|ENC2_BTN_Pin;
  GPIO_InitStruct.Mode = GPIO_MODE_IT_RISING;
  GPIO_InitStruct.Pull = GPIO_PULLUP;
  HAL_GPIO_Init(GPIOB, &GPIO_InitStruct);

  /*Configure GPIO pin : NRF_IRQ_Pin */
  GPIO_InitStruct.Pin = NRF_IRQ_Pin;
  GPIO_InitStruct.Mode = GPIO_MODE_IT_FALLING;
  GPIO_InitStruct.Pull = GPIO_NOPULL;
  HAL_GPIO_Init(NRF_IRQ_GPIO_Port, &GPIO_InitStruct);

  /* EXTI interrupt init*/
  HAL_NVIC_SetPriority(EXTI4_IRQn, 0, 0);
  HAL_NVIC_EnableIRQ(EXTI4_IRQn);

  HAL_NVIC_SetPriority(EXTI9_5_IRQn, 0, 0);
  HAL_NVIC_EnableIRQ(EXTI9_5_IRQn);

  HAL_NVIC_SetPriority(EXTI15_10_IRQn, 0, 0);
  HAL_NVIC_EnableIRQ(EXTI15_10_IRQn);

}

/* USER CODE BEGIN 4 */

/* CALLBACKS */
void HAL_GPIO_EXTI_Callback(uint16_t GPIO_Pin) {
  if(GPIO_Pin == NRF_IRQ_Pin) {                                                 // nRF24 interrupt
    NRF_IRQ = true;
  }
  else if(GPIO_Pin == SW1_Pin) {                                                // switch 1 (UART)
    UART_SendStr("SW1\n");

    if(HAL_GPIO_ReadPin(SW1_GPIO_Port, SW1_Pin) == GPIO_PIN_RESET) {
      MX_USART2_UART_Init();
      UART_debug = true;
      UART_SendStr("UART initialized!\n");
    } else {
      UART_SendStr("Deinitializing UART...\n");
      HAL_UART_DeInit(&UART);
      UART_debug = false;
    }
  }
  else if(GPIO_Pin == SW2_Pin) {                                                // switch 2 (no functionality)
    UART_SendStr("SW2\n");
  }
  else if(GPIO_Pin == ENC1_BTN_Pin) {
    ENC1_reset = true;
  }
  else if(GPIO_Pin == ENC2_BTN_Pin) {
    ENC2_reset = true;
  }
}

void HAL_TIM_PeriodElapsedCallback(TIM_HandleTypeDef *htim) {
  if(htim->Instance == TIM6) {                                                  // 1Hz timer interrupt
    tx_freq = tx_freq_cnt;                                                      // save value
    tx_freq_cnt = 0;                                                            // reset counter

    show_batoff = !show_batoff;                                                 // blink battery-off logo (if active)

    if(voltage < 6800 && STATUS_LED != LED_R_Pin) {                             // change status led color according to voltage level
      HAL_GPIO_WritePin(GPIOA, LED_G_Pin, GPIO_PIN_RESET);                      // turn off green LED
      STATUS_LED = LED_R_Pin;
    }
    else {
      HAL_GPIO_WritePin(GPIOA, LED_R_Pin, GPIO_PIN_RESET);                      // turn off red LED
      STATUS_LED = LED_G_Pin;
    }
  }
  else if(htim->Instance == TIM16) {                                            // 4Hz display refresh and batt data
    display_refresh = true;
    HAL_ADC_Start_DMA(&hadc3, (uint32_t*)adc_data_bat, ADC_BUFF_SIZE*2);

    if(retransmits_in_row > 15) {                                               // no signal
      HAL_GPIO_WritePin(LED_R_GPIO_Port, LED_R_Pin, GPIO_PIN_RESET);            // reset status led
      HAL_GPIO_WritePin(LED_G_GPIO_Port, LED_G_Pin, GPIO_PIN_RESET);

      HAL_GPIO_WritePin(LED_B_GPIO_Port, LED_B_Pin, GPIO_PIN_SET);              // turn on no signal led
      UART_SendStr("NO SIGNAL!\n");
      no_signal = true;
    } else {
      HAL_GPIO_WritePin(LED_B_GPIO_Port, LED_B_Pin, GPIO_PIN_RESET);
      no_signal = false;
    }
  }
}

void HAL_TIM_IC_CaptureCallback(TIM_HandleTypeDef *htim) {
  if(htim->Instance == TIM2) {                                                  // encoder 1 moved
    ENC1_IRQ = true;
  } else if(htim->Instance == TIM4) {                                           // encoder 2 moved
    ENC2_IRQ = true;
  }
}

void HAL_ADC_ConvHalfCpltCallback(ADC_HandleTypeDef* hadc) {
  if(hadc->Instance == ADC1) {                                                  // trigger buffer is half-full
    trigger_data_rdy = true;                                                    // set flag
    buff_offset = 0;                                                            // set offset to 0 to process the first half of the buffer
  }
}

void HAL_ADC_ConvCpltCallback(ADC_HandleTypeDef* hadc) {
  if(hadc->Instance == ADC1) {                                                  // trigger buffer is full
    trigger_data_rdy = true;                                                    // set flag, the first half of the buffer should be already processed
    buff_offset = ADC_BUFF_SIZE;                                                // set offset to the middle of the buffer to process the second half
  }
  else if(hadc->Instance == ADC3) {
    adc_data_bat_rdy = true;
  }
}
/* -------------------------------------------------------------------------- */

/* FUNCTIONS */
void BlinkLeds(void) {
  HAL_GPIO_WritePin(LED_R_GPIO_Port, LED_R_Pin, GPIO_PIN_SET);
  HAL_Delay(250);
  HAL_GPIO_WritePin(LED_R_GPIO_Port, LED_R_Pin, GPIO_PIN_RESET);

  HAL_GPIO_WritePin(LED_G_GPIO_Port, LED_G_Pin, GPIO_PIN_SET);
  HAL_Delay(250);
  HAL_GPIO_WritePin(LED_G_GPIO_Port, LED_G_Pin, GPIO_PIN_RESET);

  HAL_GPIO_WritePin(LED_B_GPIO_Port, LED_B_Pin, GPIO_PIN_SET);
  HAL_Delay(250);
  HAL_GPIO_WritePin(LED_B_GPIO_Port, LED_B_Pin, GPIO_PIN_RESET);
}

void PrintError(const char *s, ...) {                                           // printf functionality
  static char buffer[256];
  va_list args;
  va_start(args, s);
  vsnprintf(buffer, sizeof(buffer), s, args);
  va_end(args);

  ssd1306_Fill(Black);
  ssd1306_SetCursor(5, 12);
  ssd1306_WriteString(buffer, Font_6x8, White);
  ssd1306_UpdateScreen();

  if(UART_debug) {
    UART_SendStr(buffer);
    UART_SendStr("\n");
  }
}
/* -------------------------------------------------------------------------- */

/* USER CODE END 4 */

void Error_Handler(void)
{
  /* USER CODE BEGIN Error_Handler_Debug */
  /* User can add his own implementation to report the HAL error return state */

  HAL_GPIO_WritePin(LED_R_GPIO_Port, LED_R_Pin, GPIO_PIN_SET);                  // white light
  HAL_GPIO_WritePin(LED_G_GPIO_Port, LED_G_Pin, GPIO_PIN_SET);
  HAL_GPIO_WritePin(LED_B_GPIO_Port, LED_B_Pin, GPIO_PIN_SET);

  while(1) {                                                                    // periodically blink small led
    HAL_GPIO_TogglePin(LED1_GPIO_Port, LED1_Pin);
    HAL_Delay(500);
  }
  /* USER CODE END Error_Handler_Debug */
}

/************************ (C) COPYRIGHT STMicroelectronics *****END OF FILE****/
